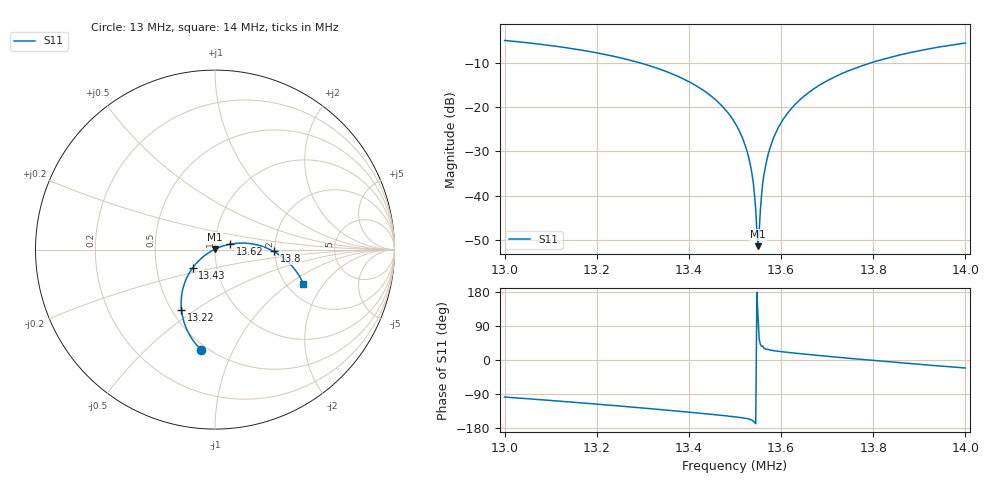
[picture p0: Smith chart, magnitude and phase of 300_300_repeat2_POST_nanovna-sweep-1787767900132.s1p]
! NanoVNA Web complex sweep
! Processing: original sample grid, no browser smoothing
# Hz S RI R 50
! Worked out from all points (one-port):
!   401 points, 13 MHz to 14 MHz, reference 50 ohm
!   lowest |S11| = -51.4 dB at 13.55 MHz (marker M1), VSWR 1.01, Z = 49.9 + j0.249 ohm
!   |S11| at or under -10 dB: 13.29 MHz to 13.79 MHz (501.8 kHz wide, 3.7 % of centre)
!   S11 on the Smith chart (normalised r, x): 13 MHz: 0.46, -0.76; 13.22 MHz: 0.56, -0.44; 13.43 MHz: 0.77, -0.16; 13.62 MHz: 1.18, +0.07; 13.8 MHz: 1.98, -0.04; 14 MHz: 2.46, -1.29
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1.3e7  -0.076 -0.5592
1.3125e7  -0.1557 -0.4481
1.3225e7  -0.1867 -0.3375
1.325e7  -0.1887 -0.3077
1.3375e7  -0.1577 -0.1582
1.34275e7  -0.1237 -0.1003
1.34675e7  -0.0897 -0.0612
1.35e7  -0.0572 -0.033
1.35175e7  -0.0385 -0.0197
1.353e7  -0.0244 -0.011
1.35375e7  -0.0157 -0.00599
1.354e7  -0.0129 -0.00439
1.3545e7  -0.00683 -0.00146
1.35475e7  -0.00393 0.000111
1.355e7  -0.00104 0.00249
1.35525e7  0.00233 0.0033
1.3555e7  0.00506 0.00449
1.356e7  0.011 0.00822
1.35625e7  0.0144 0.00882
1.35725e7  0.0267 0.014
1.359e7  0.0487 0.0213
1.36175e7  0.0845 0.0301
1.3625e7  0.0944 0.0319
1.3675e7  0.1615 0.0361
1.375e7  0.26 0.0191
1.3805e7  0.3282 -0.00993
1.3875e7  0.4017 -0.0637
1.4e7  0.4925 -0.1899
